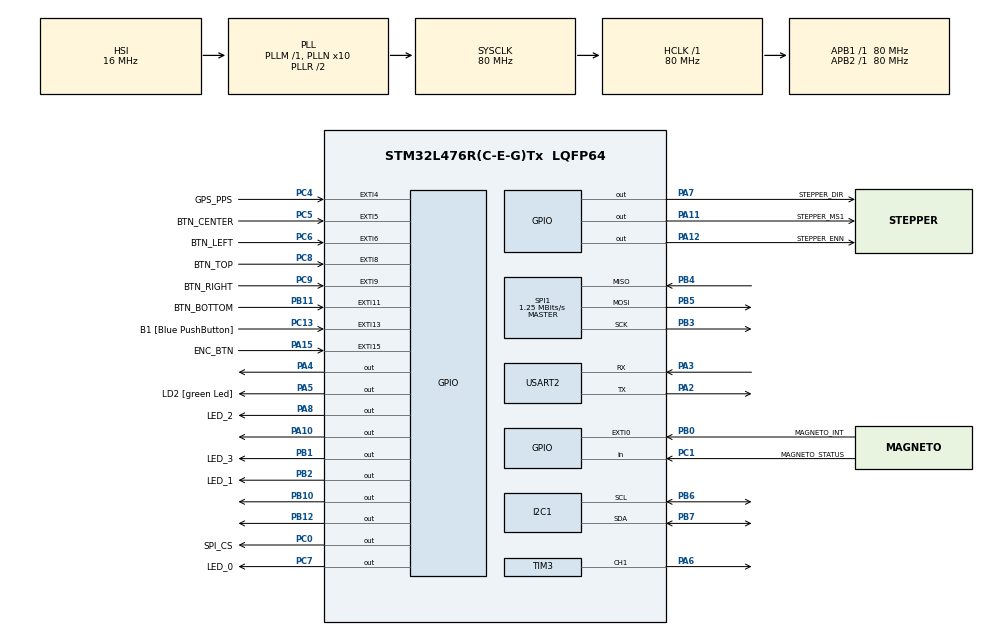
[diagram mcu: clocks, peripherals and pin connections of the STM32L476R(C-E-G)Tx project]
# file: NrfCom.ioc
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I2C1.Timing=0x10909CEC
Mcu.Family=STM32L4
Mcu.Name=STM32L476R(C-E-G)Tx
Mcu.Package=LQFP64
NVIC.EXTI15_10_IRQn=true\:0\:0\:false\:false\:true\:true\:true\:true
NVIC.PriorityGroup=NVIC_PRIORITYGROUP_4
NVIC.TIM4_IRQn=true\:0\:0\:false\:false\:true\:true\:true\:true
NVIC.TIM6_DAC_IRQn=true\:15\:0\:false\:false\:true\:false\:true\:true
NVIC.TimeBase=TIM6_DAC_IRQn
NVIC.TimeBaseIP=TIM6
PA0.Signal=S_TIM2_CH1
PA1.Signal=S_TIM2_CH2
PA10.Signal=GPIO_Output
PA11.GPIO_Label=STEPPER_MS1
PA11.Signal=GPIO_Output
PA12.GPIO_Label=STEPPER_ENN
PA12.PinState=GPIO_PIN_SET
PA12.Signal=GPIO_Output
PA13\ (JTMS-SWDIO).GPIO_Label=TMS
PA13\ (JTMS-SWDIO).Signal=SYS_JTMS-SWDIO
PA14\ (JTCK-SWCLK).GPIO_Label=TCK
PA14\ (JTCK-SWCLK).Signal=SYS_JTCK-SWCLK
PA15\ (JTDI).GPIO_Label=ENC_BTN
PA15\ (JTDI).Signal=GPXTI15
PA2.Mode=Asynchronous
PA2.Signal=USART2_TX
PA3.Mode=Asynchronous
PA3.Signal=USART2_RX
PA4.Signal=GPIO_Output
PA5.GPIO_Label=LD2 [green Led]
PA5.GPIO_ModeDefaultOutputPP=GPIO_MODE_OUTPUT_PP
PA5.GPIO_PuPd=GPIO_NOPULL
PA5.GPIO_Speed=GPIO_SPEED_FREQ_LOW
PA5.Signal=GPIO_Output
PA6.Signal=S_TIM3_CH1
PA7.GPIO_Label=STEPPER_DIR
PA7.Signal=GPIO_Output
PA8.GPIO_Label=LED_2
PA8.Signal=GPIO_Output
PB0.GPIO_Label=MAGNETO_INT
PB0.Signal=GPXTI0
PB1.GPIO_Label=LED_3
PB1.Signal=GPIO_Output
PB10.Signal=GPIO_Output
PB11.GPIO_Label=BTN_BOTTOM
PB11.Signal=GPXTI11
PB12.Signal=GPIO_Output
PB13.Signal=SPI2_SCK
PB14.Signal=SPI2_MISO
PB15.Signal=SPI2_MOSI
PB2.GPIO_Label=LED_1
PB2.Signal=GPIO_Output
PB3\ (JTDO-TRACESWO).Mode=Full_Duplex_Master
PB3\ (JTDO-TRACESWO).Signal=SPI1_SCK
PB4\ (NJTRST).Mode=Full_Duplex_Master
PB4\ (NJTRST).Signal=SPI1_MISO
PB5.Mode=Full_Duplex_Master
PB5.Signal=SPI1_MOSI
PB6.Mode=I2C
PB6.Signal=I2C1_SCL
PB7.Mode=I2C
PB7.Signal=I2C1_SDA
PC0.GPIO_Label=SPI_CS
PC0.PinState=GPIO_PIN_SET
PC0.Signal=GPIO_Output
PC1.GPIO_Label=MAGNETO_STATUS
PC1.Signal=GPIO_Input
PC13.GPIO_Label=B1 [Blue PushButton]
PC13.GPIO_ModeDefaultEXTI=GPIO_MODE_IT_FALLING
PC13.GPIO_PuPd=GPIO_NOPULL
PC13.Signal=GPXTI13
PC14-OSC32_IN\ (PC14).Mode=LSE-External-Oscillator
PC14-OSC32_IN\ (PC14).Signal=RCC_OSC32_IN
PC15-OSC32_OUT\ (PC15).Mode=LSE-External-Oscillator
PC15-OSC32_OUT\ (PC15).Signal=RCC_OSC32_OUT
PC4.GPIO_Label=GPS_PPS
PC4.Signal=GPXTI4
PC5.GPIO_Label=BTN_CENTER
PC5.Signal=GPXTI5
PC6.GPIO_Label=BTN_LEFT
PC6.Signal=GPXTI6
PC7.GPIO_Label=LED_0
PC7.Signal=GPIO_Output
PC8.GPIO_Label=BTN_TOP
PC8.Signal=GPXTI8
PC9.GPIO_Label=BTN_RIGHT
PC9.Signal=GPXTI9
PH0-OSC_IN\ (PH0).Mode=HSE-External-Oscillator
PH0-OSC_IN\ (PH0).Signal=RCC_OSC_IN
PH1-OSC_OUT\ (PH1).Mode=HSE-External-Oscillator
PH1-OSC_OUT\ (PH1).Signal=RCC_OSC_OUT
ProjectManager.HeapSize=0x200
ProjectManager.StackSize=0x400
ProjectManager.TargetToolchain=STM32CubeIDE
RCC.ADCFreq_Value=64000000
RCC.AHBFreq_Value=80000000
RCC.APB1Freq_Value=80000000
RCC.APB1TimFreq_Value=80000000
RCC.APB2Freq_Value=80000000
RCC.APB2TimFreq_Value=80000000
RCC.CortexFreq_Value=80000000
RCC.HCLKFreq_Value=80000000
RCC.HSE_VALUE=8000000
RCC.HSI_VALUE=16000000
RCC.MSI_VALUE=4000000
RCC.PLLN=10
RCC.PLLSourceVirtual=RCC_PLLSOURCE_HSI
RCC.PREFETCH_ENABLE=1
RCC.SYSCLKFreq_VALUE=80000000
RCC.SYSCLKSource=RCC_SYSCLKSOURCE_PLLCLK
RCC.USBFreq_Value=64000000
RCC.VCOOutputFreq_Value=160000000
SH.S_TIM2_CH1.0=TIM2_CH1
SH.S_TIM2_CH2.0=TIM2_CH2
SH.S_TIM3_CH1.0=TIM3_CH1,PWM Generation1 CH1
SPI1.BaudRatePrescaler=SPI_BAUDRATEPRESCALER_64
SPI1.CLKPhase=SPI_PHASE_1EDGE
SPI1.CalculateBaudRate=1.25 MBits/s
SPI1.DataSize=SPI_DATASIZE_8BIT
SPI1.Direction=SPI_DIRECTION_2LINES
SPI1.Mode=SPI_MODE_MASTER
SPI1.VirtualType=VM_MASTER
TIM3.Channel-PWM\ Generation1\ CH1=TIM_CHANNEL_1
TIM4.Period=9999
TIM4.Prescaler=79
TIM4.TIM_MasterOutputTrigger=TIM_TRGO_UPDATE
USART2.VirtualMode-Asynchronous=VM_ASYNC
VP_SYS_VS_tim6.Mode=TIM6
VP_TIM3_VS_ClockSourceINT.Mode=Internal
VP_TIM4_VS_ClockSourceINT.Mode=Internal
board=NUCLEO-L476RG

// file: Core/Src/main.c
/* USER CODE BEGIN Header */
/**
  ******************************************************************************
  * @file           : main.c
  * @brief          : Main program body
  ******************************************************************************
  * @attention
  *
  * Copyright (c) 2026 STMicroelectronics.
  * All rights reserved.
  *
  * This software is licensed under terms that can be found in the LICENSE file
  * in the root directory of this software component.
  * If no LICENSE file comes with this software, it is provided AS-IS.
  *
  ******************************************************************************
  */
/* USER CODE END Header */
#include "main.h"
#include "i2c.h"
#include "spi.h"
#include "tim.h"
#include "usart.h"
#include "gpio.h"

#include"spi.h"
#include "usart.h"
#include <stdbool.h>
#include <stdio.h>
#include <stdlib.h>
#include "emetteur.h"

void SystemClock_Config(void);

/* USER CODE BEGIN 0 */
int __io_putchar(int ch)
{
	HAL_UART_Transmit(&huart2, (uint8_t *)&ch, 1, HAL_MAX_DELAY);
	return ch;
}

int __io_getchar(void)
{
	uint8_t ch = 0;
	__HAL_UART_CLEAR_OREFLAG(&huart2);
	HAL_UART_Receive(&huart2, (uint8_t *)&ch, 1, HAL_MAX_DELAY);
	HAL_UART_Transmit(&huart2, (uint8_t *)&ch, 1, HAL_MAX_DELAY);
	return ch;
}

 //Fonctions pour la configuration du nrf

void nRF24_SPI_Init(void) {}

uint8_t nRF24_SPI_TransmitReceive(uint8_t data) {
    uint8_t rx_data = 0;
    // Envoi via SPI1
    HAL_SPI_TransmitReceive(&hspi1, &data, &rx_data, 1, 100);
    return rx_data;
}

void nRF24_SetCE(uint8_t state) {
    // Configuration sur PA10
    HAL_GPIO_WritePin(GPIOA, GPIO_PIN_10, state ? GPIO_PIN_SET : GPIO_PIN_RESET);
}

void nRF24_SetCSN(uint8_t state) {
    // Configuration sur PB10
    HAL_GPIO_WritePin(GPIOB, GPIO_PIN_10, state ? GPIO_PIN_SET : GPIO_PIN_RESET);
}

void nRF24_DelayMs(uint32_t ms) {
    HAL_Delay(ms);
}
/* USER CODE END 0 */

int main(void)
{

  /* MCU Configuration--------------------------------------------------------*/

  /* Reset of all peripherals, Initializes the Flash interface and the Systick. */
  HAL_Init();

  /* Configure the system clock */
  SystemClock_Config();

  /* Initialize all configured peripherals */
  MX_GPIO_Init();
  MX_I2C1_Init();
  MX_TIM3_Init();
  MX_TIM4_Init();
  MX_USART2_UART_Init();
  MX_SPI1_Init();

  /* Infinite loop */
  /* USER CODE BEGIN WHILE */
  // 1. Initialisation globale
  Appeler_Initialisation_nRF24();
  // Test de lecture du registre SETUP_RETR (qui doit valoir 0x1A d'après notre init)
  nRF24_SetCSN(0);
  nRF24_SPI_TransmitReceive(0x00 | 0x04); // Commande de lecture du registre 0x04
  uint8_t valeur_verif = nRF24_SPI_TransmitReceive(0xFF); // Envoi d'un octet vide pour lire la réponse
  nRF24_SetCSN(1);
  printf("Registre lu : 0x%02X (Attendu : 0x1A)\n", valeur_verif);
  // Variable pour alterner entre Allumer (0x01) et Éteindre (0x02)

    uint8_t commande_a_envoyer = 0x01;

  while (1)
  {
    /* USER CODE END WHILE */
	  /* USER CODE BEGIN 3 */

	  // On lit l'état électrique du bouton bleu (PC13) le bouton est a l etat haut
	  // Il renvoie GPIO_PIN_SET (1) au repos, et GPIO_PIN_RESET (0) quand on appuie dessus.
	  if (HAL_GPIO_ReadPin(GPIOC, GPIO_PIN_13) == GPIO_PIN_RESET)
	  {
		  // Anti-rebond logiciel : On attend 20ms pour être sûr que ce n'est pas un parasite électrique
		  HAL_Delay(20);

		  // On revérifie si le bouton est toujours enfoncé
		  if (HAL_GPIO_ReadPin(GPIOC, GPIO_PIN_13) == GPIO_PIN_RESET)
		  {
			  printf("\nAppui detecte ! Envoi de la commande : 0x%02X...\r\n", commande_a_envoyer);

			  // 2. Envoi radio de la commande
			  bool envoi_reussi = Appeler_Envoi_nRF24(&commande_a_envoyer, sizeof(commande_a_envoyer));

			  if(envoi_reussi)
			  {
				  printf("Succes ! Le recepteur a valide la reception.\n");
			  }
			  else
			  {
				  printf("Echec (Le recepteur n'a pas repondu).\n");
			  }

			  // 3. Changement d'état pour le prochain appui
			  if (commande_a_envoyer == 0x01)
			  {
				  commande_a_envoyer = 0x02; // Le prochain coup, on demandera d'éteindre
			  }
			  else
			  {
				  commande_a_envoyer = 0x01; // Le prochain coup, on demandera d'allumer
			  }

			  // Sécurité anti-rafale : On attend que l'utilisateur relâche le bouton
			  // Tant que le bouton est resté enfoncé, on bloque ici pour ne pas envoyer plusieurs messages d'un coup
			  while (HAL_GPIO_ReadPin(GPIOC, GPIO_PIN_13) == GPIO_PIN_RESET)
			  {
				  HAL_Delay(10);
			  }

			  printf("Bouton relache.\r\n");

		  }
	  }

	  HAL_Delay(10);
  }
  /* USER CODE END 3 */
}

void SystemClock_Config(void)
{
  RCC_OscInitTypeDef RCC_OscInitStruct = {0};
  RCC_ClkInitTypeDef RCC_ClkInitStruct = {0};

  /** Configure the main internal regulator output voltage
  */
  if (HAL_PWREx_ControlVoltageScaling(PWR_REGULATOR_VOLTAGE_SCALE1) != HAL_OK)
  {
    Error_Handler();
  }

  /** Initializes the RCC Oscillators according to the specified parameters
  * in the RCC_OscInitTypeDef structure.
  */
  RCC_OscInitStruct.OscillatorType = RCC_OSCILLATORTYPE_HSI;
  RCC_OscInitStruct.HSIState = RCC_HSI_ON;
  RCC_OscInitStruct.HSICalibrationValue = RCC_HSICALIBRATION_DEFAULT;
  RCC_OscInitStruct.PLL.PLLState = RCC_PLL_ON;
  RCC_OscInitStruct.PLL.PLLSource = RCC_PLLSOURCE_HSI;
  RCC_OscInitStruct.PLL.PLLM = 1;
  RCC_OscInitStruct.PLL.PLLN = 10;
  RCC_OscInitStruct.PLL.PLLP = RCC_PLLP_DIV7;
  RCC_OscInitStruct.PLL.PLLQ = RCC_PLLQ_DIV2;
  RCC_OscInitStruct.PLL.PLLR = RCC_PLLR_DIV2;
  if (HAL_RCC_OscConfig(&RCC_OscInitStruct) != HAL_OK)
  {
    Error_Handler();
  }

  /** Initializes the CPU, AHB and APB buses clocks
  */
  RCC_ClkInitStruct.ClockType = RCC_CLOCKTYPE_HCLK|RCC_CLOCKTYPE_SYSCLK
                              |RCC_CLOCKTYPE_PCLK1|RCC_CLOCKTYPE_PCLK2;
  RCC_ClkInitStruct.SYSCLKSource = RCC_SYSCLKSOURCE_PLLCLK;
  RCC_ClkInitStruct.AHBCLKDivider = RCC_SYSCLK_DIV1;
  RCC_ClkInitStruct.APB1CLKDivider = RCC_HCLK_DIV1;
  RCC_ClkInitStruct.APB2CLKDivider = RCC_HCLK_DIV1;

  if (HAL_RCC_ClockConfig(&RCC_ClkInitStruct, FLASH_LATENCY_4) != HAL_OK)
  {
    Error_Handler();
  }
}

void HAL_TIM_PeriodElapsedCallback(TIM_HandleTypeDef *htim)
{
  if (htim->Instance == TIM6) {
    HAL_IncTick();
  }
}

void Error_Handler(void)
{
  __disable_irq();
  while (1)
  {
  }
}
